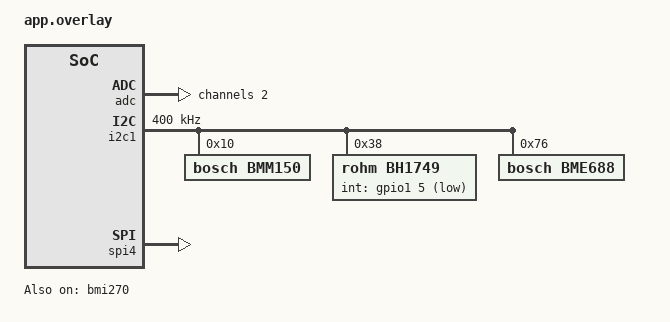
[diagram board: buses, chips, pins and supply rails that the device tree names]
#include <dt-bindings/gpio/gpio.h>

/* ADC — configuration inchangée */
&adc {
    #address-cells = <1>;
    #size-cells = <0>;
    channel@2 {
        reg = <2>;
        zephyr,gain = "ADC_GAIN_1";
        zephyr,reference = "ADC_REF_INTERNAL";
        zephyr,acquisition-time = <ADC_ACQ_TIME(ADC_ACQ_TIME_MICROSECONDS, 40)>;
        zephyr,input-positive = <NRF_SAADC_AIN2>;
        zephyr,resolution = <12>;
        zephyr,oversampling = <4>;
    };
};

/* I²C — capteurs existants inchangés */
&i2c1 {
    compatible = "nordic,nrf-twim";
    status = "okay";
    clock-frequency = <I2C_BITRATE_FAST>;

    bmm150: bmm150@10 {
        compatible = "bosch,bmm150";
        reg = <0x10>;
    };
    bh1749@38 {
        compatible = "rohm,bh1749";
        reg = <0x38>;
        int-gpios = <&gpio1 5 (GPIO_PULL_UP | GPIO_ACTIVE_LOW)>;
    };
    bme688@76 {
        compatible = "bosch,bme688";
        reg = <0x76>;
    };
};

/* SPI4 — activation du bus, avrc pinctrl & CS */
&spi4 {
    status = "okay";
    pinctrl-0 = <&spi_fwd>;
    pinctrl-names = "default";
    cs-gpios = <&gpio1 4 GPIO_ACTIVE_LOW>;
};

/* BMI270 IMU — accéléro + gyro */
&bmi270 {
    compatible = "bosch,bmi270";
    status = "okay";
    spi-max-frequency = <8000000>;
    reg = <1>;
};
